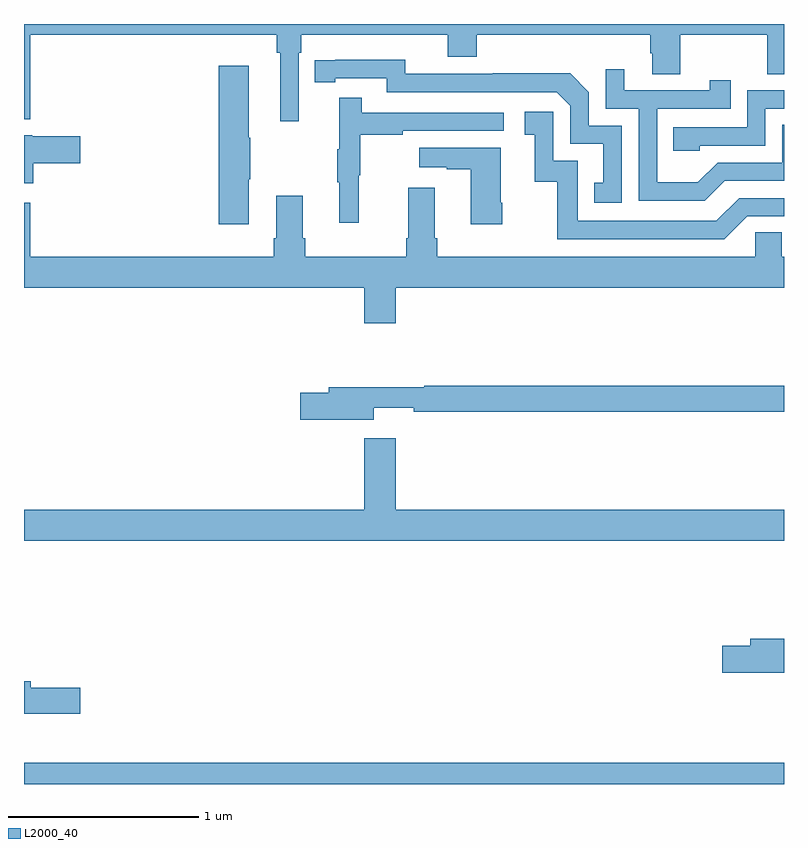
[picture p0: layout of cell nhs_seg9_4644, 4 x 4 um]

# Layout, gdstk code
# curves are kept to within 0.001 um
import gdstk
lib = gdstk.Library(unit=1e-6, precision=1e-09)
def R(c, l, rs):  # rectangles x0, y0, x1, y1
    for r in rs: c.add(gdstk.rectangle(r[:2], r[2:], *l))
def P(c, l, *ps):  # polygons
    for p in ps: c.add(gdstk.Polygon(p, *l))
L2000_40 = (2000, 40)

nhs_seg9_4644 = lib.new_cell('nhs_seg9_4644')
R(nhs_seg9_4644, L2000_40, [(379,1168.5,383,1168.612)])
P(nhs_seg9_4644, L2000_40, [(380.445,1172.348),(380.459,1172.348),(380.459,1172.444),(381.23,1172.444),(381.23,1172.327),(381.383,1172.327),(381.383,1172.444),(382.295,1172.444),(382.295,1172.346),(382.307,1172.346),(382.307,1172.236),(382.455,1172.236),(382.455,1172.444),(382.912,1172.444),(382.912,1172.236),(383,1172.236),(383,1172.5),(379,1172.5),(379,1172),(379.033,1172),(379.033,1172.444),(380.329,1172.444),(380.329,1172.348),(380.348,1172.348),(380.348,1171.989),(380.445,1171.989)],
  [(382.146,1171.965),(381.972,1171.965),(381.972,1172.142),(381.874,1172.24),(381.466,1172.24),(381.466,1172.238),(381.006,1172.238),(381.006,1172.311),(380.53,1172.31),(380.53,1172.194),(380.638,1172.194),(380.638,1172.214),(380.91,1172.214),(380.91,1172.142),(381.804,1172.142),(381.876,1172.07),(381.876,1171.869),(382.049,1171.869),(382.049,1171.665),(382,1171.665),(382,1171.56),(382.146,1171.56)],
  [(380.182,1171.684),(380.19,1171.684),(380.19,1171.901),(380.182,1171.901),(380.182,1172.281),(380.024,1172.281),(380.024,1171.446),(380.182,1171.446)],
  [(382.687,1171.674),(383,1171.674),(383,1171.969),(382.992,1171.969),(382.992,1171.77),(382.65,1171.77),(382.546,1171.666),(382.332,1171.666),(382.332,1172.055),(382.721,1172.055),(382.721,1172.203),(382.61,1172.203),(382.61,1172.151),(382.159,1172.151),(382.159,1172.263),(382.062,1172.263),(382.062,1172.055),(382.236,1172.055),(382.236,1171.569),(382.582,1171.569)],
  [(382.557,1171.86),(382.902,1171.86),(382.902,1172.055),(383,1172.055),(383,1172.151),(382.806,1172.151),(382.806,1171.956),(382.417,1171.956),(382.417,1171.833),(382.557,1171.833)],
  [(380.762,1171.704),(380.77,1171.704),(380.77,1171.918),(380.993,1171.918),(380.993,1171.938),(381.526,1171.938),(381.526,1172.034),(380.777,1172.034),(380.777,1172.113),(380.66,1172.113),(380.66,1171.841),(380.649,1171.841),(380.649,1171.667),(380.66,1171.667),(380.66,1171.455),(380.762,1171.455)],
  [(382.806,1171.488),(383,1171.488),(383,1171.584),(382.764,1171.584),(382.644,1171.464),(381.915,1171.464),(381.915,1171.779),(381.786,1171.779),(381.786,1172.038),(381.636,1172.038),(381.636,1171.917),(381.689,1171.917),(381.689,1171.671),(381.807,1171.671),(381.807,1171.368),(382.686,1171.368)],
  [(379.048,1171.768),(379.297,1171.768),(379.297,1171.91),(379.044,1171.91),(379.044,1171.915),(379,1171.915),(379,1171.661),(379.048,1171.661)],
  [(381.516,1171.558),(381.508,1171.558),(381.508,1171.849),(381.081,1171.849),(381.081,1171.745),(381.224,1171.745),(381.224,1171.735),(381.35,1171.735),(381.35,1171.446),(381.516,1171.446)],
  [(380.48,1171.372),(380.467,1171.372),(380.467,1171.597),(380.327,1171.597),(380.327,1171.372),(380.315,1171.372),(380.315,1171.276),(379.033,1171.276),(379.033,1171.558),(379,1171.558),(379,1171.112),(380.792,1171.112),(380.792,1170.924),(380.956,1170.924),(380.956,1171.112),(383,1171.112),(383,1171.276),(382.987,1171.276),(382.987,1171.403),(382.848,1171.403),(382.848,1171.276),(381.176,1171.276),(381.176,1171.372),(381.163,1171.372),(381.163,1171.639),(381.023,1171.639),(381.023,1171.372),(381.011,1171.372),(381.011,1171.276),(380.48,1171.276)],
  [(380.842,1170.479),(381.052,1170.479),(381.052,1170.46),(383,1170.46),(383,1170.596),(381.107,1170.596),(381.107,1170.589),(380.603,1170.589),(380.603,1170.56),(380.454,1170.56),(380.454,1170.418),(380.842,1170.418)],
  [(383,1169.944),(380.956,1169.944),(380.956,1170.319),(380.792,1170.319),(380.792,1169.944),(379,1169.944),(379,1169.78),(383,1169.78)],
  [(383,1169.264),(382.823,1169.264),(382.823,1169.228),(382.674,1169.228),(382.674,1169.086),(383,1169.086)],
  [(379.297,1169.006),(379.036,1169.006),(379.036,1169.042),(379,1169.042),(379,1168.871),(379.297,1168.871)])

lib.write_gds('nhs_seg9_4644.gds')
